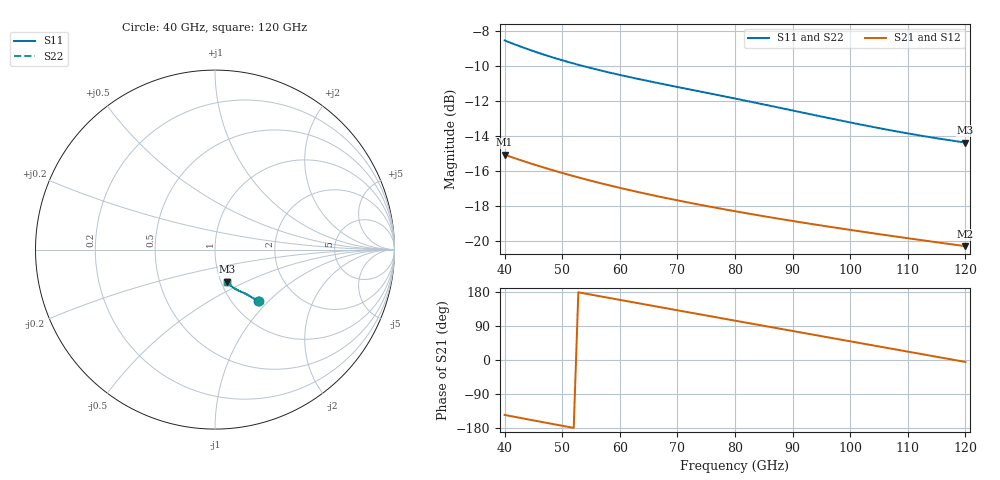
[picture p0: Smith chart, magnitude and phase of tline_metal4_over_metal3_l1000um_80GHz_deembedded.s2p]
! Created with skrf 2.2.0 (http://scikit-rf.org).
# GHz S DB R 50.0
! Port[1] = P1
! Port[2] = P2
!freq dBS11 angS11 dBS21 angS21 dBS12 angS12 dBS22 angS22
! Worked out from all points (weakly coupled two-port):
!   101 points, 40 GHz to 120 GHz, reference 50 ohm
!   highest |S21| = -15.05 dB at 40 GHz (marker M1); lowest = -20.3 dB at 120 GHz (marker M2)
!   lowest |S11| = -14.4 dB at 120 GHz (marker M3), VSWR 1.47, Z = 53.6 - j19.9 ohm
!   |S11| at or under -10 dB: 53.77 GHz to end of sweep
!   |S22| runs from -14.3 to -8.5 dB; largest |S21 - S12| = 1.9e-14
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40  -8.53 -49.9  -15.05 -144.9  -15.05 -144.9  -8.51 -49.7
43.2  -8.93 -51.0  -15.41 -154.2  -15.41 -154.2  -8.91 -50.8
46.4  -9.29 -51.9  -15.74 -163.4  -15.74 -163.4  -9.27 -51.7
49.6  -9.62 -52.8  -16.05 -172.4  -16.05 -172.4  -9.60 -52.5
53.6  -9.99 -53.8  -16.42 176.4  -16.42 176.4  -9.96 -53.5
56.8  -10.25 -54.6  -16.69 167.5  -16.69 167.5  -10.22 -54.3
60.8  -10.55 -55.6  -17.00 156.5  -17.00 156.5  -10.52 -55.4
64  -10.78 -56.5  -17.24 147.7  -17.24 147.7  -10.75 -56.3
67.2  -11.00 -57.4  -17.47 138.9  -17.47 138.9  -10.96 -57.2
70.4  -11.21 -58.4  -17.68 130.1  -17.68 130.1  -11.17 -58.1
73.6  -11.42 -59.3  -17.89 121.4  -17.89 121.4  -11.38 -59.1
76.8  -11.63 -60.3  -18.08 112.6  -18.08 112.6  -11.59 -60.1
80  -11.84 -61.3  -18.28 103.9  -18.28 103.9  -11.80 -61.1
83.2  -12.06 -62.2  -18.46 95.1  -18.46 95.1  -12.02 -62.0
86.4  -12.28 -63.2  -18.64 86.4  -18.64 86.4  -12.24 -63.0
89.6  -12.50 -64.0  -18.81 77.7  -18.81 77.7  -12.46 -63.8
93.6  -12.77 -65.0  -19.02 66.8  -19.02 66.8  -12.73 -64.8
100.8  -13.26 -66.5  -19.38 47.2  -19.38 47.2  -13.22 -66.3
107.2  -13.67 -67.5  -19.69 29.7  -19.69 29.7  -13.63 -67.3
110.4  -13.86 -67.9  -19.84 21.0  -19.84 21.0  -13.83 -67.7
113.6  -14.03 -68.3  -19.98 12.3  -19.98 12.3  -14.01 -68.1
120  -14.35 -69.0  -20.27 -5.1  -20.27 -5.1  -14.33 -68.8
